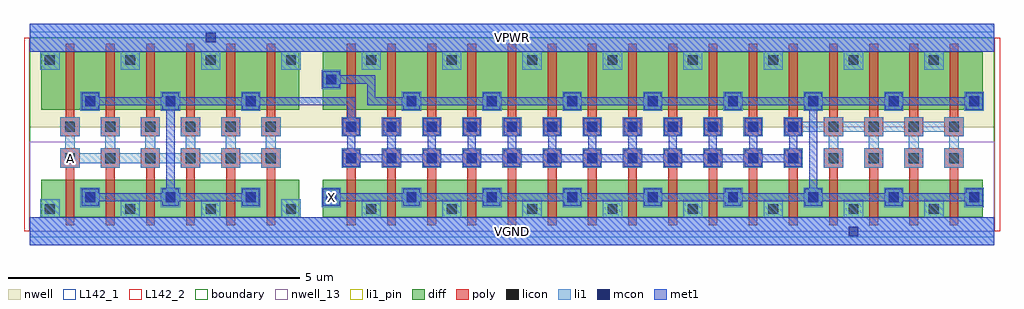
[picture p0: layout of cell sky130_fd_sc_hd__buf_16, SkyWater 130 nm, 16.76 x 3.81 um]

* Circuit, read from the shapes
.subckt sky130_fd_sc_hd__buf_16 A VGND VPWR X
XM1 n1 A VGND VSUBS sky130_fd_pr__nfet_01v8 w=0.65 l=0.15 m=6
XM2 VGND n1 X VSUBS sky130_fd_pr__nfet_01v8 w=0.65 l=0.15 m=16
XM3 n1 A VPWR n2 sky130_fd_pr__pfet_01v8 w=1 l=0.15 m=6
XM4 VPWR n1 X n2 sky130_fd_pr__pfet_01v8 w=1 l=0.15 m=16
.ends

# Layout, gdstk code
import gdstk
lib = gdstk.Library(unit=1e-6, precision=1e-09)
def R(c, l, rs):  # rectangles x0, y0, x1, y1
    for r in rs: c.add(gdstk.rectangle(r[:2], r[2:], *l))
def A(c, l, x, y, w, h, nx, ny, dx, dy):  # array of equal rectangles
    R(c, l, [(x+i*dx, y+j*dy, x+i*dx+w, y+j*dy+h) for i in range(nx) for j in range(ny)])
def P(c, l, *ps):  # polygons
    for p in ps: c.add(gdstk.Polygon(p, *l))
nwell_13 = (64, 13)
nwell = (64, 20)
diff = (65, 20)
poly = (66, 20)
licon = (66, 44)
li1_pin = (67, 16)
li1 = (67, 20)
mcon = (67, 44)
met1 = (68, 20)
L142_1 = (142, 1)
L142_2 = (142, 2)
boundary = (235, 4)

sky130_fd_sc_hd__buf_16 = lib.new_cell('sky130_fd_sc_hd__buf_16')
R(sky130_fd_sc_hd__buf_16, nwell_13, [(0,0,16.56,1.54)])
R(sky130_fd_sc_hd__buf_16, nwell, [(0,1.79,16.56,3.33)])
A(sky130_fd_sc_hd__buf_16, diff, 0.615, 0.24, 0.69, 0.65, 5, 1, 0.69, 0)
A(sky130_fd_sc_hd__buf_16, diff, 5.445, 0.24, 0.69, 0.65, 15, 1, 0.69, 0)
A(sky130_fd_sc_hd__buf_16, diff, 0.615, 2.09, 0.69, 1, 5, 1, 0.69, 0)
A(sky130_fd_sc_hd__buf_16, diff, 5.445, 2.09, 0.69, 1, 15, 1, 0.69, 0)
R(sky130_fd_sc_hd__buf_16, diff, [(0.2,0.24,4.63,0.89), (0.2,0.24,0.615,0.89), (4.065,0.24,4.63,0.89), (5.03,0.24,16.36,0.89), (5.03,0.24,5.445,0.89), (15.795,0.24,16.36,0.89), (0.2,2.09,4.63,3.09), (0.2,2.09,0.615,3.09), (4.065,2.09,4.63,3.09), (5.03,2.09,16.36,3.09), (5.03,2.09,5.445,3.09), (15.795,2.09,16.36,3.09)])
P(sky130_fd_sc_hd__buf_16, poly, [(0.615,0.11),(0.615,1.095),(0.525,1.095),(0.525,1.425),(0.855,1.425),(0.855,1.095),(0.765,1.095),(0.765,0.11)],
  [(1.305,0.11),(1.305,1.095),(1.215,1.095),(1.215,1.425),(1.545,1.425),(1.545,1.095),(1.455,1.095),(1.455,0.11)],
  [(1.995,0.11),(1.995,1.095),(1.905,1.095),(1.905,1.425),(2.235,1.425),(2.235,1.095),(2.145,1.095),(2.145,0.11)],
  [(2.685,0.11),(2.685,1.095),(2.595,1.095),(2.595,1.425),(2.925,1.425),(2.925,1.095),(2.835,1.095),(2.835,0.11)],
  [(3.375,0.11),(3.375,1.095),(3.285,1.095),(3.285,1.425),(3.615,1.425),(3.615,1.095),(3.525,1.095),(3.525,0.11)],
  [(4.065,0.11),(4.065,1.095),(3.975,1.095),(3.975,1.425),(4.305,1.425),(4.305,1.095),(4.215,1.095),(4.215,0.11)],
  [(0.525,1.635),(0.525,1.965),(0.615,1.965),(0.615,3.22),(0.765,3.22),(0.765,1.965),(0.855,1.965),(0.855,1.635)],
  [(1.215,1.635),(1.215,1.965),(1.305,1.965),(1.305,3.22),(1.455,3.22),(1.455,1.965),(1.545,1.965),(1.545,1.635)],
  [(1.905,1.635),(1.905,1.965),(1.995,1.965),(1.995,3.22),(2.145,3.22),(2.145,1.965),(2.235,1.965),(2.235,1.635)],
  [(2.595,1.635),(2.595,1.965),(2.685,1.965),(2.685,3.22),(2.835,3.22),(2.835,1.965),(2.925,1.965),(2.925,1.635)],
  [(3.285,1.635),(3.285,1.965),(3.375,1.965),(3.375,3.22),(3.525,3.22),(3.525,1.965),(3.615,1.965),(3.615,1.635)],
  [(3.975,1.635),(3.975,1.965),(4.065,1.965),(4.065,3.22),(4.215,3.22),(4.215,1.965),(4.305,1.965),(4.305,1.635)],
  [(5.445,0.11),(5.445,1.095),(5.355,1.095),(5.355,1.425),(5.685,1.425),(5.685,1.095),(5.595,1.095),(5.595,0.11)],
  [(6.135,0.11),(6.135,1.095),(6.045,1.095),(6.045,1.425),(6.375,1.425),(6.375,1.095),(6.285,1.095),(6.285,0.11)],
  [(6.825,0.11),(6.825,1.095),(6.735,1.095),(6.735,1.425),(7.065,1.425),(7.065,1.095),(6.975,1.095),(6.975,0.11)],
  [(7.515,0.11),(7.515,1.095),(7.425,1.095),(7.425,1.425),(7.755,1.425),(7.755,1.095),(7.665,1.095),(7.665,0.11)],
  [(8.205,0.11),(8.205,1.095),(8.115,1.095),(8.115,1.425),(8.445,1.425),(8.445,1.095),(8.355,1.095),(8.355,0.11)],
  [(8.895,0.11),(8.895,1.095),(8.805,1.095),(8.805,1.425),(9.135,1.425),(9.135,1.095),(9.045,1.095),(9.045,0.11)],
  [(9.585,0.11),(9.585,1.095),(9.495,1.095),(9.495,1.425),(9.825,1.425),(9.825,1.095),(9.735,1.095),(9.735,0.11)],
  [(10.275,0.11),(10.275,1.095),(10.185,1.095),(10.185,1.425),(10.515,1.425),(10.515,1.095),(10.425,1.095),(10.425,0.11)],
  [(10.965,0.11),(10.965,1.095),(10.875,1.095),(10.875,1.425),(11.205,1.425),(11.205,1.095),(11.115,1.095),(11.115,0.11)],
  [(11.655,0.11),(11.655,1.095),(11.565,1.095),(11.565,1.425),(11.895,1.425),(11.895,1.095),(11.805,1.095),(11.805,0.11)],
  [(12.345,0.11),(12.345,1.095),(12.255,1.095),(12.255,1.425),(12.585,1.425),(12.585,1.095),(12.495,1.095),(12.495,0.11)],
  [(13.035,0.11),(13.035,1.095),(12.945,1.095),(12.945,1.425),(13.275,1.425),(13.275,1.095),(13.185,1.095),(13.185,0.11)],
  [(13.725,0.11),(13.725,1.095),(13.635,1.095),(13.635,1.425),(13.965,1.425),(13.965,1.095),(13.875,1.095),(13.875,0.11)],
  [(14.415,0.11),(14.415,1.095),(14.325,1.095),(14.325,1.425),(14.655,1.425),(14.655,1.095),(14.565,1.095),(14.565,0.11)],
  [(15.105,0.11),(15.105,1.095),(15.015,1.095),(15.015,1.425),(15.345,1.425),(15.345,1.095),(15.255,1.095),(15.255,0.11)],
  [(15.795,0.11),(15.795,1.095),(15.705,1.095),(15.705,1.425),(16.035,1.425),(16.035,1.095),(15.945,1.095),(15.945,0.11)],
  [(5.355,1.635),(5.355,1.965),(5.445,1.965),(5.445,3.22),(5.595,3.22),(5.595,1.965),(5.685,1.965),(5.685,1.635)],
  [(6.045,1.635),(6.045,1.965),(6.135,1.965),(6.135,3.22),(6.285,3.22),(6.285,1.965),(6.375,1.965),(6.375,1.635)],
  [(6.735,1.635),(6.735,1.965),(6.825,1.965),(6.825,3.22),(6.975,3.22),(6.975,1.965),(7.065,1.965),(7.065,1.635)],
  [(7.425,1.635),(7.425,1.965),(7.515,1.965),(7.515,3.22),(7.665,3.22),(7.665,1.965),(7.755,1.965),(7.755,1.635)],
  [(8.115,1.635),(8.115,1.965),(8.205,1.965),(8.205,3.22),(8.355,3.22),(8.355,1.965),(8.445,1.965),(8.445,1.635)],
  [(8.805,1.635),(8.805,1.965),(8.895,1.965),(8.895,3.22),(9.045,3.22),(9.045,1.965),(9.135,1.965),(9.135,1.635)],
  [(9.495,1.635),(9.495,1.965),(9.585,1.965),(9.585,3.22),(9.735,3.22),(9.735,1.965),(9.825,1.965),(9.825,1.635)],
  [(10.185,1.635),(10.185,1.965),(10.275,1.965),(10.275,3.22),(10.425,3.22),(10.425,1.965),(10.515,1.965),(10.515,1.635)],
  [(10.875,1.635),(10.875,1.965),(10.965,1.965),(10.965,3.22),(11.115,3.22),(11.115,1.965),(11.205,1.965),(11.205,1.635)],
  [(11.565,1.635),(11.565,1.965),(11.655,1.965),(11.655,3.22),(11.805,3.22),(11.805,1.965),(11.895,1.965),(11.895,1.635)],
  [(12.255,1.635),(12.255,1.965),(12.345,1.965),(12.345,3.22),(12.495,3.22),(12.495,1.965),(12.585,1.965),(12.585,1.635)],
  [(12.945,1.635),(12.945,1.965),(13.035,1.965),(13.035,3.22),(13.185,3.22),(13.185,1.965),(13.275,1.965),(13.275,1.635)],
  [(13.635,1.635),(13.635,1.965),(13.725,1.965),(13.725,3.22),(13.875,3.22),(13.875,1.965),(13.965,1.965),(13.965,1.635)],
  [(14.325,1.635),(14.325,1.965),(14.415,1.965),(14.415,3.22),(14.565,3.22),(14.565,1.965),(14.655,1.965),(14.655,1.635)],
  [(15.015,1.635),(15.015,1.965),(15.105,1.965),(15.105,3.22),(15.255,3.22),(15.255,1.965),(15.345,1.965),(15.345,1.635)],
  [(15.705,1.635),(15.705,1.965),(15.795,1.965),(15.795,3.22),(15.945,3.22),(15.945,1.965),(16.035,1.965),(16.035,1.635)])
A(sky130_fd_sc_hd__buf_16, licon, 0.26, 0.3, 0.17, 0.17, 12, 2, 1.38, 2.56)
A(sky130_fd_sc_hd__buf_16, licon, 0.95, 0.5, 0.17, 0.17, 12, 1, 1.38, 0)
A(sky130_fd_sc_hd__buf_16, licon, 0.605, 1.175, 0.17, 0.17, 6, 2, 0.69, 0.54)
A(sky130_fd_sc_hd__buf_16, licon, 5.435, 1.175, 0.17, 0.17, 16, 2, 0.69, 0.54)
A(sky130_fd_sc_hd__buf_16, licon, 0.95, 2.15, 0.17, 0.17, 3, 1, 1.38, 0)
A(sky130_fd_sc_hd__buf_16, licon, 6.47, 2.15, 0.17, 0.17, 8, 1, 1.38, 0)
R(sky130_fd_sc_hd__buf_16, licon, [(5.09,2.525,5.26,2.695)])
R(sky130_fd_sc_hd__buf_16, li1_pin, [(0,-0.24,16.56,0.24), (5.01,0.42,5.34,0.75), (0,3.09,16.56,3.57)])
P(sky130_fd_sc_hd__buf_16, li1_pin, [(0.525,1.095),(0.525,1.425),(0.605,1.425),(0.605,1.635),(0.525,1.635),(0.525,1.965),(0.855,1.965),(0.855,1.635),(0.775,1.635),(0.775,1.425),(0.855,1.425),(0.855,1.345),(1.215,1.345),(1.215,1.425),(1.295,1.425),(1.295,1.635),(1.215,1.635),(1.215,1.965),(1.545,1.965),(1.545,1.635),(1.465,1.635),(1.465,1.425),(1.545,1.425),(1.545,1.345),(1.905,1.345),(1.905,1.425),(1.985,1.425),(1.985,1.635),(1.905,1.635),(1.905,1.965),(2.235,1.965),(2.235,1.635),(2.155,1.635),(2.155,1.425),(2.235,1.425),(2.235,1.345),(2.595,1.345),(2.595,1.425),(2.675,1.425),(2.675,1.635),(2.595,1.635),(2.595,1.965),(2.925,1.965),(2.925,1.635),(2.845,1.635),(2.845,1.425),(2.925,1.425),(2.925,1.345),(3.285,1.345),(3.285,1.425),(3.365,1.425),(3.365,1.635),(3.285,1.635),(3.285,1.965),(3.615,1.965),(3.615,1.635),(3.535,1.635),(3.535,1.425),(3.615,1.425),(3.615,1.345),(3.975,1.345),(3.975,1.425),(4.055,1.425),(4.055,1.635),(3.975,1.635),(3.975,1.965),(4.305,1.965),(4.305,1.635),(4.225,1.635),(4.225,1.425),(4.305,1.425),(4.305,1.095),(3.975,1.095),(3.975,1.175),(3.615,1.175),(3.615,1.095),(3.285,1.095),(3.285,1.175),(2.925,1.175),(2.925,1.095),(2.595,1.095),(2.595,1.175),(2.235,1.175),(2.235,1.095),(1.905,1.095),(1.905,1.175),(1.545,1.175),(1.545,1.095),(1.215,1.095),(1.215,1.175),(0.855,1.175),(0.855,1.095)])
A(sky130_fd_sc_hd__buf_16, li1, 0.87, 0.42, 0.33, 0.33, 12, 1, 1.38, 0)
A(sky130_fd_sc_hd__buf_16, li1, 5.355, 1.095, 0.33, 0.33, 12, 1, 0.69, 0)
A(sky130_fd_sc_hd__buf_16, li1, 5.355, 1.635, 0.33, 0.33, 11, 1, 0.69, 0)
A(sky130_fd_sc_hd__buf_16, li1, 0.87, 2.07, 0.33, 0.33, 3, 1, 1.38, 0)
A(sky130_fd_sc_hd__buf_16, li1, 6.39, 2.07, 0.33, 0.33, 8, 1, 1.38, 0)
R(sky130_fd_sc_hd__buf_16, li1, [(5.01,2.445,5.34,2.775)])
P(sky130_fd_sc_hd__buf_16, li1, [(0.18,2.78),(0.18,3.09),(0,3.09),(0,3.57),(16.56,3.57),(16.56,3.09),(15.69,3.09),(15.69,2.78),(15.36,2.78),(15.36,3.09),(14.31,3.09),(14.31,2.78),(13.98,2.78),(13.98,3.09),(12.93,3.09),(12.93,2.78),(12.6,2.78),(12.6,3.09),(11.55,3.09),(11.55,2.78),(11.22,2.78),(11.22,3.09),(10.17,3.09),(10.17,2.78),(9.84,2.78),(9.84,3.09),(8.79,3.09),(8.79,2.78),(8.46,2.78),(8.46,3.09),(7.41,3.09),(7.41,2.78),(7.08,2.78),(7.08,3.09),(6.03,3.09),(6.03,2.78),(5.7,2.78),(5.7,3.09),(4.65,3.09),(4.65,2.78),(4.32,2.78),(4.32,3.09),(3.27,3.09),(3.27,2.78),(2.94,2.78),(2.94,3.09),(1.89,3.09),(1.89,2.78),(1.56,2.78),(1.56,3.09),(0.51,3.09),(0.51,2.78)],
  [(0,-0.24),(0,0.24),(0.18,0.24),(0.18,0.55),(0.51,0.55),(0.51,0.24),(1.56,0.24),(1.56,0.55),(1.89,0.55),(1.89,0.24),(2.94,0.24),(2.94,0.55),(3.27,0.55),(3.27,0.24),(4.32,0.24),(4.32,0.55),(4.65,0.55),(4.65,0.24),(5.7,0.24),(5.7,0.55),(6.03,0.55),(6.03,0.24),(7.08,0.24),(7.08,0.55),(7.41,0.55),(7.41,0.24),(8.46,0.24),(8.46,0.55),(8.79,0.55),(8.79,0.24),(9.84,0.24),(9.84,0.55),(10.17,0.55),(10.17,0.24),(11.22,0.24),(11.22,0.55),(11.55,0.55),(11.55,0.24),(12.6,0.24),(12.6,0.55),(12.93,0.55),(12.93,0.24),(13.98,0.24),(13.98,0.55),(14.31,0.55),(14.31,0.24),(15.36,0.24),(15.36,0.55),(15.69,0.55),(15.69,0.24),(16.56,0.24),(16.56,-0.24)],
  [(0.525,1.095),(0.525,1.425),(0.605,1.425),(0.605,1.635),(0.525,1.635),(0.525,1.965),(0.855,1.965),(0.855,1.635),(0.775,1.635),(0.775,1.425),(0.855,1.425),(0.855,1.345),(1.215,1.345),(1.215,1.425),(1.295,1.425),(1.295,1.635),(1.215,1.635),(1.215,1.965),(1.545,1.965),(1.545,1.635),(1.465,1.635),(1.465,1.425),(1.545,1.425),(1.545,1.345),(1.905,1.345),(1.905,1.425),(1.985,1.425),(1.985,1.635),(1.905,1.635),(1.905,1.965),(2.235,1.965),(2.235,1.635),(2.155,1.635),(2.155,1.425),(2.235,1.425),(2.235,1.345),(2.595,1.345),(2.595,1.425),(2.675,1.425),(2.675,1.635),(2.595,1.635),(2.595,1.965),(2.925,1.965),(2.925,1.635),(2.845,1.635),(2.845,1.425),(2.925,1.425),(2.925,1.345),(3.285,1.345),(3.285,1.425),(3.365,1.425),(3.365,1.635),(3.285,1.635),(3.285,1.965),(3.615,1.965),(3.615,1.635),(3.535,1.635),(3.535,1.425),(3.615,1.425),(3.615,1.345),(3.975,1.345),(3.975,1.425),(4.055,1.425),(4.055,1.635),(3.975,1.635),(3.975,1.965),(4.305,1.965),(4.305,1.635),(4.225,1.635),(4.225,1.425),(4.305,1.425),(4.305,1.095),(3.975,1.095),(3.975,1.175),(3.615,1.175),(3.615,1.095),(3.285,1.095),(3.285,1.175),(2.925,1.175),(2.925,1.095),(2.595,1.095),(2.595,1.175),(2.235,1.175),(2.235,1.095),(1.905,1.095),(1.905,1.175),(1.545,1.175),(1.545,1.095),(1.215,1.095),(1.215,1.175),(0.855,1.175),(0.855,1.095)],
  [(13.635,1.095),(13.635,1.425),(13.715,1.425),(13.715,1.635),(13.635,1.635),(13.635,1.715),(13.275,1.715),(13.275,1.635),(12.945,1.635),(12.945,1.965),(13.275,1.965),(13.275,1.885),(13.635,1.885),(13.635,1.965),(13.965,1.965),(13.965,1.885),(14.325,1.885),(14.325,1.965),(14.655,1.965),(14.655,1.885),(15.015,1.885),(15.015,1.965),(15.345,1.965),(15.345,1.885),(15.705,1.885),(15.705,1.965),(16.035,1.965),(16.035,1.635),(15.955,1.635),(15.955,1.425),(16.035,1.425),(16.035,1.095),(15.705,1.095),(15.705,1.425),(15.785,1.425),(15.785,1.635),(15.705,1.635),(15.705,1.715),(15.345,1.715),(15.345,1.635),(15.265,1.635),(15.265,1.425),(15.345,1.425),(15.345,1.095),(15.015,1.095),(15.015,1.425),(15.095,1.425),(15.095,1.635),(15.015,1.635),(15.015,1.715),(14.655,1.715),(14.655,1.635),(14.575,1.635),(14.575,1.425),(14.655,1.425),(14.655,1.095),(14.325,1.095),(14.325,1.425),(14.405,1.425),(14.405,1.635),(14.325,1.635),(14.325,1.715),(13.965,1.715),(13.965,1.635),(13.885,1.635),(13.885,1.425),(13.965,1.425),(13.965,1.095)])
A(sky130_fd_sc_hd__buf_16, mcon, 0.95, 0.5, 0.17, 0.17, 12, 1, 1.38, 0)
A(sky130_fd_sc_hd__buf_16, mcon, 5.435, 1.175, 0.17, 0.17, 12, 2, 0.69, 0.54)
A(sky130_fd_sc_hd__buf_16, mcon, 0.95, 2.15, 0.17, 0.17, 3, 1, 1.38, 0)
A(sky130_fd_sc_hd__buf_16, mcon, 6.47, 2.15, 0.17, 0.17, 8, 1, 1.38, 0)
R(sky130_fd_sc_hd__buf_16, mcon, [(14.06,-0.085,14.23,0.085), (5.09,2.525,5.26,2.695), (3.02,3.245,3.19,3.415)])
R(sky130_fd_sc_hd__buf_16, met1, [(0,-0.24,16.56,0.24), (0,3.09,16.56,3.57)])
P(sky130_fd_sc_hd__buf_16, met1, [(0.89,0.44),(0.89,0.73),(1.18,0.73),(1.18,0.655),(2.27,0.655),(2.27,0.73),(2.345,0.73),(2.345,2.09),(2.27,2.09),(2.27,2.165),(1.18,2.165),(1.18,2.09),(0.89,2.09),(0.89,2.38),(1.18,2.38),(1.18,2.305),(2.27,2.305),(2.27,2.38),(2.56,2.38),(2.56,2.305),(3.65,2.305),(3.65,2.38),(3.94,2.38),(3.94,2.305),(5.59,2.305),(5.59,1.945),(5.665,1.945),(5.665,1.655),(5.59,1.655),(5.59,1.405),(5.665,1.405),(5.665,1.33),(6.065,1.33),(6.065,1.405),(6.14,1.405),(6.14,1.655),(6.065,1.655),(6.065,1.945),(6.355,1.945),(6.355,1.655),(6.28,1.655),(6.28,1.405),(6.355,1.405),(6.355,1.33),(6.755,1.33),(6.755,1.405),(6.83,1.405),(6.83,1.655),(6.755,1.655),(6.755,1.945),(7.045,1.945),(7.045,1.655),(6.97,1.655),(6.97,1.405),(7.045,1.405),(7.045,1.33),(7.445,1.33),(7.445,1.405),(7.52,1.405),(7.52,1.655),(7.445,1.655),(7.445,1.945),(7.735,1.945),(7.735,1.655),(7.66,1.655),(7.66,1.405),(7.735,1.405),(7.735,1.33),(8.135,1.33),(8.135,1.405),(8.21,1.405),(8.21,1.655),(8.135,1.655),(8.135,1.945),(8.425,1.945),(8.425,1.655),(8.35,1.655),(8.35,1.405),(8.425,1.405),(8.425,1.33),(8.825,1.33),(8.825,1.405),(8.9,1.405),(8.9,1.655),(8.825,1.655),(8.825,1.945),(9.115,1.945),(9.115,1.655),(9.04,1.655),(9.04,1.405),(9.115,1.405),(9.115,1.33),(9.515,1.33),(9.515,1.405),(9.59,1.405),(9.59,1.655),(9.515,1.655),(9.515,1.945),(9.805,1.945),(9.805,1.655),(9.73,1.655),(9.73,1.405),(9.805,1.405),(9.805,1.33),(10.205,1.33),(10.205,1.405),(10.28,1.405),(10.28,1.655),(10.205,1.655),(10.205,1.945),(10.495,1.945),(10.495,1.655),(10.42,1.655),(10.42,1.405),(10.495,1.405),(10.495,1.33),(10.895,1.33),(10.895,1.405),(10.97,1.405),(10.97,1.655),(10.895,1.655),(10.895,1.945),(11.185,1.945),(11.185,1.655),(11.11,1.655),(11.11,1.405),(11.185,1.405),(11.185,1.33),(11.585,1.33),(11.585,1.405),(11.66,1.405),(11.66,1.655),(11.585,1.655),(11.585,1.945),(11.875,1.945),(11.875,1.655),(11.8,1.655),(11.8,1.405),(11.875,1.405),(11.875,1.33),(12.275,1.33),(12.275,1.405),(12.35,1.405),(12.35,1.655),(12.275,1.655),(12.275,1.945),(12.565,1.945),(12.565,1.655),(12.49,1.655),(12.49,1.405),(12.565,1.405),(12.565,1.33),(12.965,1.33),(12.965,1.405),(13.04,1.405),(13.04,1.655),(12.965,1.655),(12.965,1.945),(13.255,1.945),(13.255,1.655),(13.18,1.655),(13.18,1.405),(13.255,1.405),(13.255,1.115),(12.965,1.115),(12.965,1.19),(12.565,1.19),(12.565,1.115),(12.275,1.115),(12.275,1.19),(11.875,1.19),(11.875,1.115),(11.585,1.115),(11.585,1.19),(11.185,1.19),(11.185,1.115),(10.895,1.115),(10.895,1.19),(10.495,1.19),(10.495,1.115),(10.205,1.115),(10.205,1.19),(9.805,1.19),(9.805,1.115),(9.515,1.115),(9.515,1.19),(9.115,1.19),(9.115,1.115),(8.825,1.115),(8.825,1.19),(8.425,1.19),(8.425,1.115),(8.135,1.115),(8.135,1.19),(7.735,1.19),(7.735,1.115),(7.445,1.115),(7.445,1.19),(7.045,1.19),(7.045,1.115),(6.755,1.115),(6.755,1.19),(6.355,1.19),(6.355,1.115),(6.065,1.115),(6.065,1.19),(5.665,1.19),(5.665,1.115),(5.375,1.115),(5.375,1.405),(5.45,1.405),(5.45,1.655),(5.375,1.655),(5.375,1.945),(5.45,1.945),(5.45,2.165),(3.94,2.165),(3.94,2.09),(3.65,2.09),(3.65,2.165),(2.56,2.165),(2.56,2.09),(2.485,2.09),(2.485,0.73),(2.56,0.73),(2.56,0.655),(3.65,0.655),(3.65,0.73),(3.94,0.73),(3.94,0.44),(3.65,0.44),(3.65,0.515),(2.56,0.515),(2.56,0.44),(2.27,0.44),(2.27,0.515),(1.18,0.515),(1.18,0.44)],
  [(5.03,0.44),(5.03,0.73),(5.32,0.73),(5.32,0.655),(6.41,0.655),(6.41,0.73),(6.7,0.73),(6.7,0.655),(7.79,0.655),(7.79,0.73),(8.08,0.73),(8.08,0.655),(9.17,0.655),(9.17,0.73),(9.46,0.73),(9.46,0.655),(10.55,0.655),(10.55,0.73),(10.84,0.73),(10.84,0.655),(11.93,0.655),(11.93,0.73),(12.22,0.73),(12.22,0.655),(13.31,0.655),(13.31,0.73),(13.385,0.73),(13.385,2.09),(13.31,2.09),(13.31,2.165),(12.22,2.165),(12.22,2.09),(11.93,2.09),(11.93,2.165),(10.84,2.165),(10.84,2.09),(10.55,2.09),(10.55,2.165),(9.46,2.165),(9.46,2.09),(9.17,2.09),(9.17,2.165),(8.08,2.165),(8.08,2.09),(7.79,2.09),(7.79,2.165),(6.7,2.165),(6.7,2.09),(6.41,2.09),(6.41,2.165),(5.795,2.165),(5.795,2.54),(5.32,2.54),(5.32,2.465),(5.03,2.465),(5.03,2.755),(5.32,2.755),(5.32,2.68),(5.935,2.68),(5.935,2.305),(6.41,2.305),(6.41,2.38),(6.7,2.38),(6.7,2.305),(7.79,2.305),(7.79,2.38),(8.08,2.38),(8.08,2.305),(9.17,2.305),(9.17,2.38),(9.46,2.38),(9.46,2.305),(10.55,2.305),(10.55,2.38),(10.84,2.38),(10.84,2.305),(11.93,2.305),(11.93,2.38),(12.22,2.38),(12.22,2.305),(13.31,2.305),(13.31,2.38),(13.6,2.38),(13.6,2.305),(14.69,2.305),(14.69,2.38),(14.98,2.38),(14.98,2.305),(16.07,2.305),(16.07,2.38),(16.36,2.38),(16.36,2.09),(16.07,2.09),(16.07,2.165),(14.98,2.165),(14.98,2.09),(14.69,2.09),(14.69,2.165),(13.6,2.165),(13.6,2.09),(13.525,2.09),(13.525,0.73),(13.6,0.73),(13.6,0.655),(14.69,0.655),(14.69,0.73),(14.98,0.73),(14.98,0.655),(16.07,0.655),(16.07,0.73),(16.36,0.73),(16.36,0.44),(16.07,0.44),(16.07,0.515),(14.98,0.515),(14.98,0.44),(14.69,0.44),(14.69,0.515),(13.6,0.515),(13.6,0.44),(13.31,0.44),(13.31,0.515),(12.22,0.515),(12.22,0.44),(11.93,0.44),(11.93,0.515),(10.84,0.515),(10.84,0.44),(10.55,0.44),(10.55,0.515),(9.46,0.515),(9.46,0.44),(9.17,0.44),(9.17,0.515),(8.08,0.515),(8.08,0.44),(7.79,0.44),(7.79,0.515),(6.7,0.515),(6.7,0.44),(6.41,0.44),(6.41,0.515),(5.32,0.515),(5.32,0.44)])
R(sky130_fd_sc_hd__buf_16, L142_1, [(0,-0.1,16.56,0), (0,3.33,16.56,3.43)])
R(sky130_fd_sc_hd__buf_16, L142_2, [(-0.1,0,0,3.33), (16.56,0,16.66,3.33)])
R(sky130_fd_sc_hd__buf_16, boundary, [(0,0,16.56,3.33)])
sky130_fd_sc_hd__buf_16.add(gdstk.Label('X', (5.175,0.585), layer=67, texttype=5))
sky130_fd_sc_hd__buf_16.add(gdstk.Label('A', (0.69,1.26), layer=67, texttype=5))
sky130_fd_sc_hd__buf_16.add(gdstk.Label('VGND', (8.28,0), layer=67, texttype=5))
sky130_fd_sc_hd__buf_16.add(gdstk.Label('VPWR', (8.28,3.33), layer=67, texttype=5))
sky130_fd_sc_hd__buf_16.add(gdstk.Label('VGND', (8.28,0), layer=68, texttype=5))
sky130_fd_sc_hd__buf_16.add(gdstk.Label('VPWR', (8.28,3.33), layer=68, texttype=5))

lib.write_gds('sky130_fd_sc_hd__buf_16.gds')
